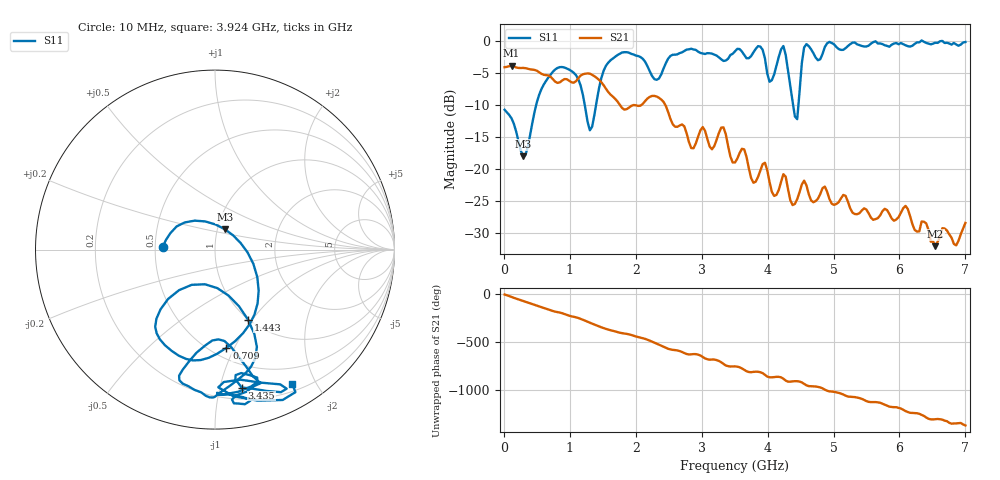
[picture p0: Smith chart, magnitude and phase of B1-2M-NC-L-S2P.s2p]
!File created by NanoVNA
# Hz S RI R 50
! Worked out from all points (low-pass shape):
!   201 points, 10 MHz to 7 GHz, reference 50 ohm
!   highest |S21| = -3.82 dB at 114.8 MHz (marker M1); lowest = -32.1 dB at 6.546 GHz (marker M2)
!   |S21| within 3 dB of the highest: start of sweep to 1.508 GHz
!   lowest |S11| = -18.0 dB at 289.6 MHz (marker M3), VSWR 1.29, Z = 54.3 + j12.5 ohm
!   |S11| at or under -10 dB: start of sweep to 488.6 MHz; 1.226 GHz to 1.397 GHz (170.5 MHz wide, 13 % of centre); 4.387 GHz to 4.467 GHz (79.5 MHz wide, 1.8 % of centre)
!   S12 and S22 are empty: the file has one direction only
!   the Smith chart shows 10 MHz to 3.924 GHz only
!   S11 on the Smith chart (normalised r, x): 10 MHz: 0.55, +0.02; 709 MHz: 0.59, -0.93; 1.443 GHz: 0.99, -0.95; 3.435 GHz: 0.29, -1.17; 3.924 GHz: 0.29, -1.69
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1e7  -0.2908 0.0163  0.6274 -0.0335  0 0  0 0
1.1485e8  -0.2137 0.1291  0.5675 -0.3053  0 0  0 0
2.896e8  0.0546 0.1136  0.2157 -0.5814  0 0  0 0
7.09e8  0.0638 -0.5472  -0.5169 -0.1064  0 0  0 0
1.1983e9  -0.2616 -0.2753  -0.0193 0.553  0 0  0 0
1.44295e9  0.1839 -0.3906  0.4599 0.1961  0 0  0 0
1.8274e9  -0.00992 -0.824  0.1794 -0.2304  0 0  0 0
2.35165e9  0.053 -0.5094  -0.3548 -0.0698  0 0  0 0
3.4351e9  0.1485 -0.7685  0.0987 -0.077  0 0  0 0
3.505e9  0.2864 -0.7874  0.0905 -0.0668  0 0  0 0
3.74965e9  0.0184 -0.7673  -0.011 -0.0841  0 0  0 0
3.9244e9  0.4292 -0.7463  -0.0326 -0.1041  0 0  0 0
4.0642e9  -0.1208 -0.4823  -0.0582 -0.0316  0 0  0 0
4.23895e9  0.5405 -0.7453  -0.0883 -0.0222  0 0  0 0
4.4137e9  0.2556 0.0324  -0.0521 0.0109  0 0  0 0
4.58845e9  0.658 -0.6894  -0.0427 0.061  0 0  0 0
4.6933e9  0.7865 -0.1974  -0.0231 0.0498  0 0  0 0
4.903e9  0.7126 -0.6539  0.0251 0.0612  0 0  0 0
5.07775e9  0.843 -0.2228  0.0382 0.0394  0 0  0 0
5.84665e9  0.8455 -0.3332  -0.00667 -0.0439  0 0  0 0
6.54565e9  0.9464 -0.2463  -0.0157 0.0192  0 0  0 0
7e9  0.9897 -0.0177  0.0166 0.0339  0 0  0 0
